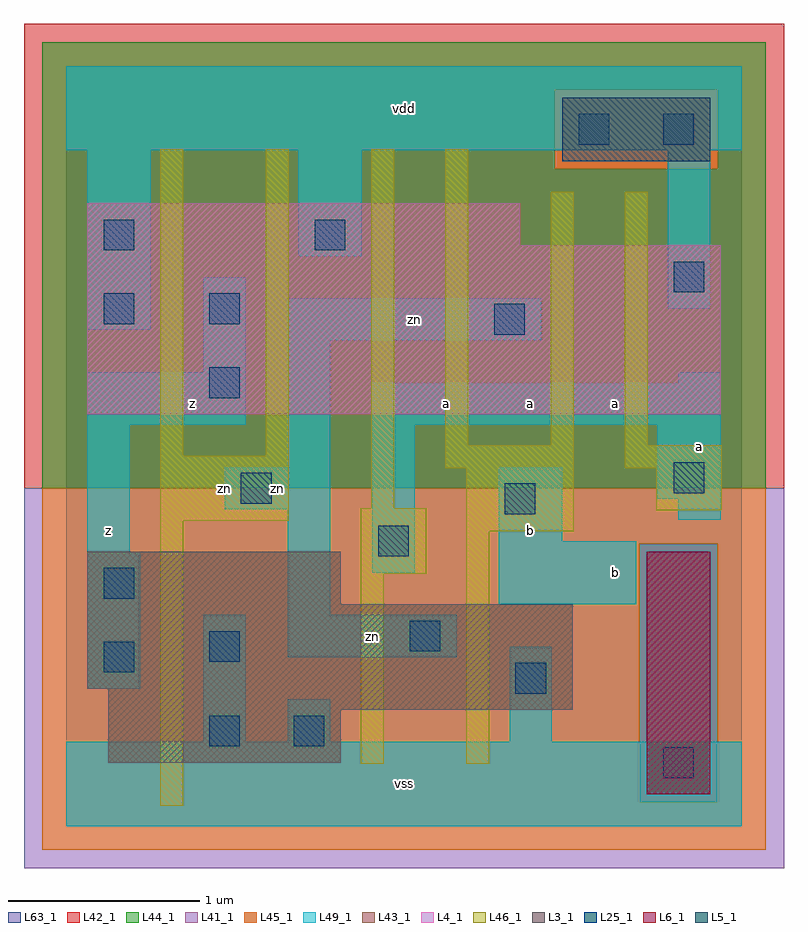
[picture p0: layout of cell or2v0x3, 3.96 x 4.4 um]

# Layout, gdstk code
import gdstk
lib = gdstk.Library(unit=1e-6, precision=1e-09)
def R(c, l, rs):  # rectangles x0, y0, x1, y1
    for r in rs: c.add(gdstk.rectangle(r[:2], r[2:], *l))
L3_1 = (3, 1)
L4_1 = (4, 1)
L5_1 = (5, 1)
L6_1 = (6, 1)
L25_1 = (25, 1)
L41_1 = (41, 1)
L42_1 = (42, 1)
L43_1 = (43, 1)
L44_1 = (44, 1)
L45_1 = (45, 1)
L46_1 = (46, 1)
L49_1 = (49, 1)
L63_1 = (63, 1)

or2v0x3 = lib.new_cell('or2v0x3')
R(or2v0x3, L3_1, [(0.22,0.33,1.43,0.605), (0.22,0.605,2.64,0.715), (0.11,0.715,2.64,1.155), (0.11,1.155,1.43,1.43)])
R(or2v0x3, L4_1, [(0.11,2.145,3.41,3.025), (0.11,3.025,2.365,3.245)])
R(or2v0x3, L5_1, [(2.585,3.465,3.355,3.795)])
R(or2v0x3, L6_1, [(3.025,0.165,3.355,1.43)])
R(or2v0x3, L25_1, [(3.11,0.25,3.27,0.41), (0.745,0.415,0.905,0.575), (1.185,0.415,1.345,0.575), (2.34,0.69,2.5,0.85), (0.195,0.8,0.355,0.96), (0.745,0.855,0.905,1.015), (1.79,0.91,1.95,1.07), (0.195,1.185,0.355,1.345), (1.625,1.405,1.785,1.565), (2.285,1.625,2.445,1.785), (0.91,1.68,1.07,1.84), (3.165,1.735,3.325,1.895), (0.745,2.23,0.905,2.39), (2.23,2.56,2.39,2.72), (0.195,2.615,0.355,2.775), (0.745,2.615,0.905,2.775), (3.165,2.78,3.325,2.94), (0.195,3,0.355,3.16), (1.295,3,1.455,3.16), (2.67,3.55,2.83,3.71), (3.11,3.55,3.27,3.71)])
R(or2v0x3, L41_1, [(-0.22,-0.22,3.74,1.76)])
R(or2v0x3, L42_1, [(-0.22,1.76,3.74,4.18)])
R(or2v0x3, L43_1, [(3.025,0.165,3.355,1.43), (0.22,0.33,1.43,0.605), (0.22,0.605,2.64,0.715), (0.11,0.715,2.64,1.155), (0.11,1.155,1.43,1.43), (0.11,2.145,3.41,3.025), (0.11,3.025,2.365,3.245), (2.585,3.465,3.355,3.795)])
R(or2v0x3, L44_1, [(2.985,0.125,3.395,1.47), (-0.125,1.76,3.645,3.425), (-0.125,3.425,2.545,3.835), (3.395,3.425,3.645,3.835), (-0.125,3.835,3.645,4.085)])
R(or2v0x3, L45_1, [(-0.125,-0.125,3.645,0.125), (-0.125,0.125,2.985,1.47), (3.395,0.125,3.645,1.47), (-0.125,1.47,3.645,1.76), (2.545,3.425,3.395,3.835)])
R(or2v0x3, L46_1, [(0.49,0.105,0.61,1.59), (1.535,0.325,1.655,1.315), (2.085,0.325,2.205,1.535), (1.535,1.315,1.875,1.655), (2.085,1.535,2.645,1.865), (0.49,1.59,1.16,1.93), (3.075,1.645,3.415,1.865), (1.59,1.655,1.71,3.525), (1.975,1.865,2.645,1.985), (2.91,1.865,3.415,1.985), (0.49,1.93,0.61,3.525), (1.04,1.93,1.16,3.525), (1.975,1.985,2.095,3.525), (2.525,1.985,2.645,3.305), (2.91,1.985,3.03,3.305)])
R(or2v0x3, L49_1, [(0,0,3.52,0.44), (0.715,0.44,0.935,1.1), (1.155,0.44,1.375,0.66), (2.31,0.44,2.53,0.935), (0.11,0.715,0.385,1.43), (1.155,0.88,2.035,1.1), (1.155,1.1,1.375,1.65), (2.255,1.155,2.97,1.485), (1.595,1.32,1.815,2.09), (0.11,1.43,0.33,2.09), (2.255,1.485,2.585,1.87), (3.19,1.595,3.41,1.705), (0.825,1.65,1.375,1.87), (3.08,1.705,3.41,2.09), (1.155,1.87,1.375,2.53), (0.11,2.09,0.935,2.365), (1.595,2.09,3.41,2.31), (3.19,2.31,3.41,2.365), (0.715,2.365,0.935,2.86), (1.155,2.53,2.475,2.75), (0.11,2.585,0.44,3.52), (3.135,2.695,3.355,3.52), (1.21,2.97,1.54,3.52), (0,3.52,3.52,3.96)])
R(or2v0x3, L63_1, [(0,0,3.52,3.96)])
or2v0x3.add(gdstk.Label('zn', (0.825,1.76), layer=46, texttype=1))
or2v0x3.add(gdstk.Label('z', (0.22,1.54), layer=49, texttype=1))
or2v0x3.add(gdstk.Label('z', (0.66,2.2), layer=49, texttype=1))
or2v0x3.add(gdstk.Label('zn', (1.1,1.76), layer=49, texttype=1))
or2v0x3.add(gdstk.Label('vss', (1.76,0.22), layer=49, texttype=1))
or2v0x3.add(gdstk.Label('zn', (1.595,0.99), layer=49, texttype=1))
or2v0x3.add(gdstk.Label('b', (2.42,1.54), layer=49, texttype=1))
or2v0x3.add(gdstk.Label('a', (2.42,2.2), layer=49, texttype=1))
or2v0x3.add(gdstk.Label('a', (1.98,2.2), layer=49, texttype=1))
or2v0x3.add(gdstk.Label('zn', (1.815,2.64), layer=49, texttype=1))
or2v0x3.add(gdstk.Label('vdd', (1.76,3.74), layer=49, texttype=1))
or2v0x3.add(gdstk.Label('b', (2.86,1.32), layer=49, texttype=1))
or2v0x3.add(gdstk.Label('a', (3.3,1.98), layer=49, texttype=1))
or2v0x3.add(gdstk.Label('a', (2.86,2.2), layer=49, texttype=1))

lib.write_gds('or2v0x3.gds')
